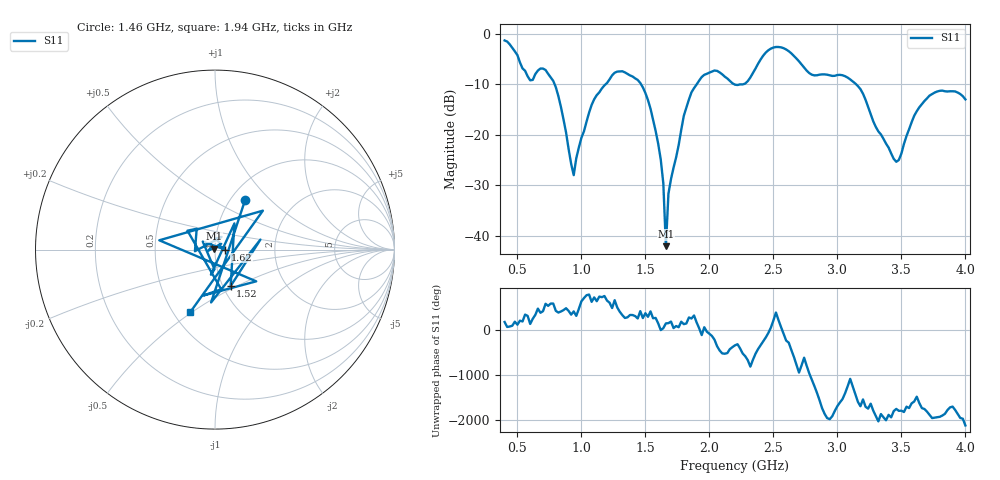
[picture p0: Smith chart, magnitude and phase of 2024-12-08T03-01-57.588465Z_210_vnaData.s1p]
!Created with skrf (http://scikit-rf.org).
# Hz S RI R 50.0
!freq ReS11 ImS11
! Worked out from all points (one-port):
!   181 points, 400 MHz to 4 GHz, reference 50 ohm
!   lowest |S11| = -42.0 dB at 1.66 GHz (marker M1), VSWR 1.02, Z = 49.3 + j0.427 ohm
!   |S11| at or under -10 dB: 790.9 MHz to 1.189 GHz (398.2 MHz wide, 40.2 % of centre); 1.466 GHz to 1.901 GHz (435 MHz wide, 25.8 % of centre); 3.146 GHz to end of sweep (the widest 3 of 4)
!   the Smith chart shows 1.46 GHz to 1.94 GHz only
!   S11 on the Smith chart (normalised r, x): 1.46 GHz: 1.16, +0.73; 1.52 GHz: 1.09, -0.46; 1.62 GHz: 1.12, -0.00; 1.94 GHz: 0.61, -0.49
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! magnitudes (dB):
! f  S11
! 400 MHz  -1.3
! 600 MHz  -9.2
! 720 MHz  -7.2
! 800 MHz  -10.6
! 860 MHz  -16.9
! 940 MHz  -28.0
! 1.08 GHz  -14.1
! 1.3 GHz  -7.5
! 1.46 GHz  -9.7
! 1.52 GHz  -13.1
! 1.62 GHz  -24.9
! 1.64 GHz  -29.6
! 1.66 GHz  -42.0
! 1.68 GHz  -31.6
! 1.76 GHz  -22.0
! 1.84 GHz  -13.0
! 1.94 GHz  -8.6
! 2.06 GHz  -7.3
! 2.2 GHz  -10.1
! 2.3 GHz  -9.4
! 2.48 GHz  -3.0
! 2.66 GHz  -4.4
! 2.8 GHz  -8.1
! 3.1 GHz  -9.0
! 3.46 GHz  -25.3
! 3.56 GHz  -18.9
! 3.76 GHz  -11.6
! 4 GHz  -13.0
